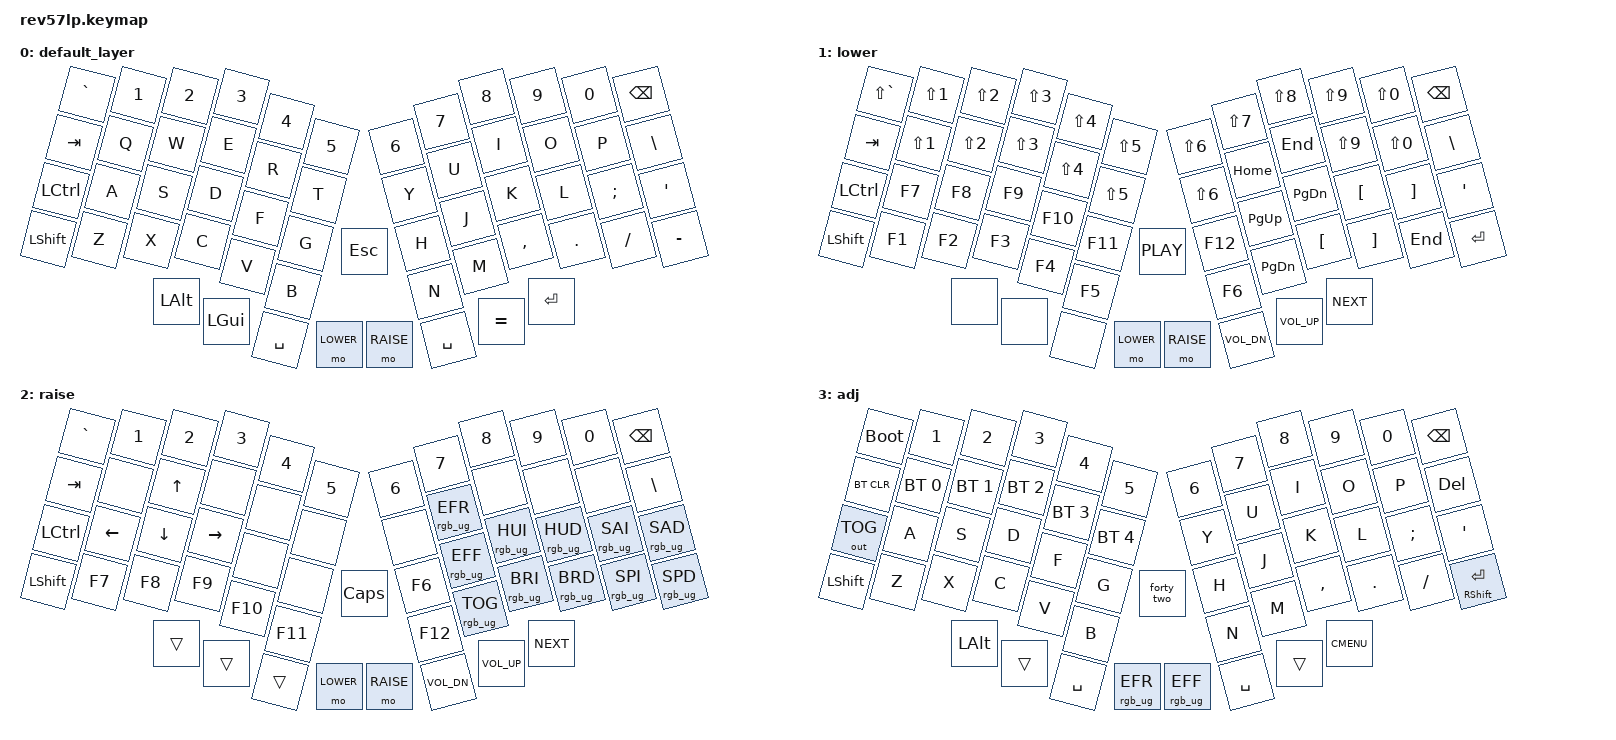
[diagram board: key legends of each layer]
/*
 * Copyright (c) 2022 The ZMK Contributors
 *
 * SPDX-License-Identifier: MIT
 */

#include <behaviors.dtsi>
#include <dt-bindings/zmk/keys.h>
#include <dt-bindings/zmk/bt.h>
#include <dt-bindings/zmk/outputs.h>
#include <dt-bindings/zmk/rgb.h>

#define DEFAULT 0
#define LOWER   1
#define RAISE   2
#define ADJ     3

/ {
    conditional_layers {
        compatible = "zmk,conditional-layers";
        tri_layer {
            if-layers = <1 2>;
            then-layer = <3>;
        };
    };

    macros {
        forty_two: forty_two {
            label = "ZM_forty_two";
            compatible = "zmk,behavior-macro";
            #binding-cells = <0>;
            bindings
                = <&macro_tap &kp N4>
                , <&macro_tap &kp N2>
                ;
        };
    };

    keymap {
        compatible = "zmk,keymap";
        default_layer {
            bindings = <
                &kp GRAVE    &kp N1     &kp N2    &kp N3    &kp N4     &kp N5                           &kp N6     &kp N7     &kp N8     &kp N9    &kp N0     &kp BSPC
                &kp TAB      &kp Q      &kp W     &kp E     &kp R      &kp T                            &kp Y      &kp U      &kp I      &kp O     &kp P      &kp BSLH
                &kp LCTRL    &kp A      &kp S     &kp D     &kp F      &kp G          &kp ESC           &kp H      &kp J      &kp K      &kp L     &kp SEMI   &kp SQT
                &kp LSHIFT   &kp Z      &kp X     &kp C     &kp V      &kp B                            &kp N      &kp M      &kp COMMA  &kp DOT   &kp SLASH  &kp MINUS
                                                  &kp LALT  &kp LGUI   &kp SPACE  &mo LOWER  &mo RAISE  &kp SPACE  &kp EQUAL  &kp RET
                >;
        };
        lower {
            bindings = <
                &kp LS(GRAVE)  &kp LS(N1)  &kp LS(N2)  &kp LS(N3)  &kp LS(N4)  &kp LS(N5)                            &kp LS(N6)    &kp LS(N7)   &kp LS(N8) &kp LS(N9)  &kp LS(N0)  &kp BSPC
                &kp TAB        &kp LS(N1)  &kp LS(N2)  &kp LS(N3)  &kp LS(N4)  &kp LS(N5)                            &kp LS(N6)    &kp HOME     &kp END  &kp LS(N9)    &kp LS(N0)  &kp BSLH
                &kp LCTRL      &kp F7      &kp F8      &kp F9      &kp F10     &kp F11               &kp C_PLAY      &kp F12       &kp PG_UP    &kp PG_DN  &kp LBKT    &kp RBKT    &kp SQT
                &kp LSHIFT     &kp F1      &kp F2      &kp F3      &kp F4      &kp F5                                &kp F6        &kp PG_DN    &kp LBKT   &kp RBKT    &kp END     &kp RET
                                                       &none       &none       &none       &mo LOWER  &mo RAISE      &kp C_VOL_DN  &kp C_VOL_UP &kp C_NEXT
                >;
        };
        raise {
            bindings = <
                &kp GRAVE  &kp N1    &kp N2    &kp N3     &kp N4    &kp N5                           &kp N6       &kp N7           &kp N8           &kp N9          &kp N0          &kp BSPC
                &kp TAB    &none     &kp UP    &none      &none     &none                            &none        &rgb_ug RGB_EFR  &none            &none           &none           &kp BSLH
                &kp LCTRL  &kp LEFT  &kp DOWN  &kp RIGHT  &none     &none            &kp CAPS        &kp F6       &rgb_ug RGB_EFF  &rgb_ug RGB_HUI  &rgb_ug RGB_HUD &rgb_ug RGB_SAI &rgb_ug RGB_SAD
                &kp LSHIFT &kp F7    &kp F8    &kp F9     &kp F10   &kp F11                          &kp F12      &rgb_ug RGB_TOG  &rgb_ug RGB_BRI  &rgb_ug RGB_BRD &rgb_ug RGB_SPI &rgb_ug RGB_SPD
                                               &trans     &trans    &trans     &mo LOWER  &mo RAISE  &kp C_VOL_DN &kp C_VOL_UP     &kp C_NEXT
                >;
        };
        adj {
            bindings = <
                &bootloader  &kp N1       &kp N2       &kp N3       &kp N4       &kp N5                           &kp N6     &kp N7     &kp N8     &kp N9    &kp N0     &kp BSPC
                &bt BT_CLR   &bt BT_SEL 0 &bt BT_SEL 1 &bt BT_SEL 2 &bt BT_SEL 3 &bt BT_SEL 4                     &kp Y      &kp U      &kp I      &kp O     &kp P      &kp DEL
                &out OUT_TOG &kp A        &kp S        &kp D        &kp F        &kp G          &forty_two        &kp H      &kp J      &kp K      &kp L     &kp SEMI   &kp SQT
                &kp LSHIFT   &kp Z        &kp X        &kp C        &kp V        &kp B                            &kp N      &kp M      &kp COMMA  &kp DOT   &kp SLASH  &mt RSHIFT RET
                                                  &kp LALT  &trans     &kp SPACE  &rgb_ug RGB_EFR &rgb_ug RGB_EFF &kp SPACE  &trans     &kp K_CMENU
                >;
        };
    };
};
